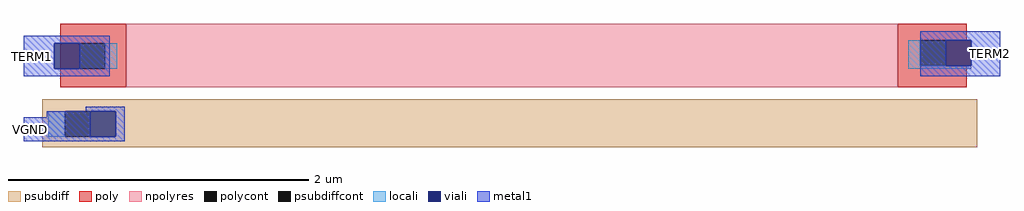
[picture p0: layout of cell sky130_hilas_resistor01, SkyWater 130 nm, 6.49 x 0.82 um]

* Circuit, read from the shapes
.subckt sky130_hilas_resistor01 TERM1 TERM2 VGND
R1 TERM2 TERM1 sky130_fd_pr__res_generic_po w=0.42 l=5.13
.ends

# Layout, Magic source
magic
tech sky130A
<< psubdiff >>
rect -131 148 491 156
rect -131 131 -116 148
rect -99 131 491 148
rect -131 124 491 131
<< psubdiffcont >>
rect -116 131 -99 148
<< poly >>
rect -119 193 -75 206
rect -119 176 -106 193
rect -89 176 -75 193
rect -119 164 -75 176
rect 438 195 484 206
rect 438 178 453 195
rect 470 178 487 195
rect 438 164 484 178
<< polycont >>
rect -106 176 -89 193
rect 453 178 470 195
<< npolyres >>
rect -75 164 438 206
<< locali >>
rect -89 176 -81 193
rect 445 178 453 195
rect 445 176 487 178
rect -127 131 -116 148
<< viali >>
rect -123 176 -106 193
rect 470 178 487 195
rect -99 131 -82 148
<< metal1 >>
rect -143 193 -86 198
rect -143 176 -123 193
rect -106 176 -86 193
rect -143 171 -86 176
rect 453 195 506 201
rect 453 178 470 195
rect 487 178 506 195
rect 453 171 506 178
rect -102 148 -76 151
rect -128 144 -99 148
rect -143 131 -99 144
rect -82 131 -76 148
rect -143 128 -76 131
<< labels >>
rlabel metal1 -142 171 -133 198 0 TERM1
port 1 nsew
rlabel metal1 494 171 506 201 0 TERM2
port 2 nsew
rlabel metal1 -143 128 -134 144 0 VGND
port 3 nsew
<< end >>
